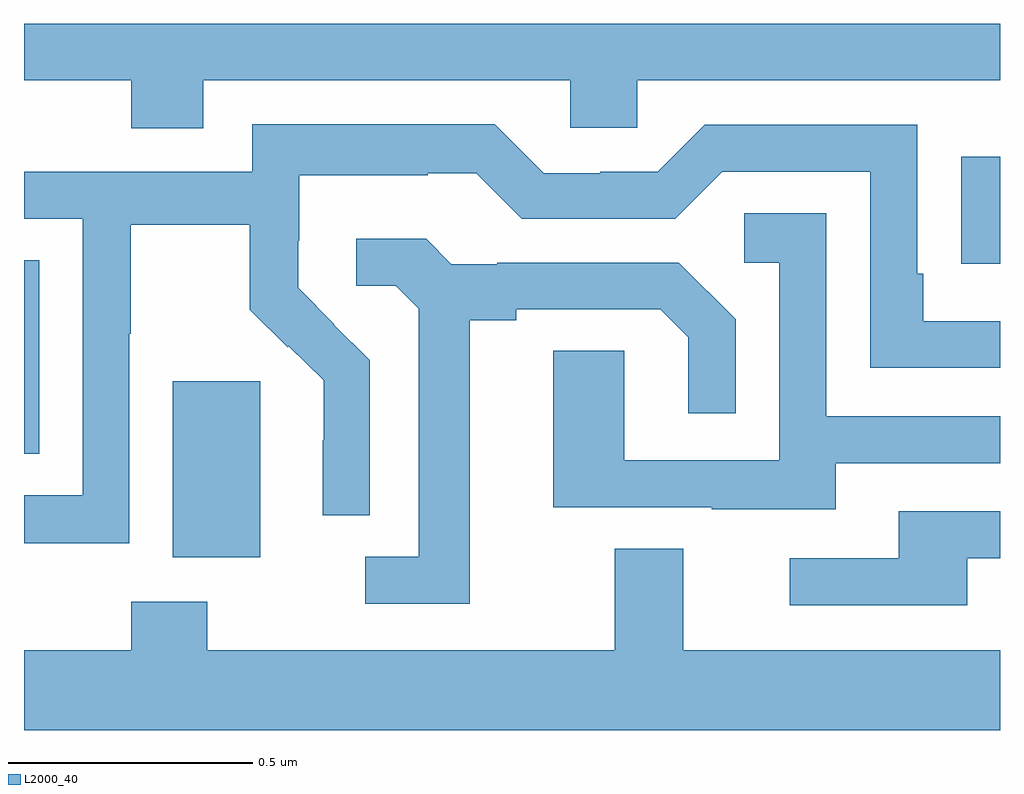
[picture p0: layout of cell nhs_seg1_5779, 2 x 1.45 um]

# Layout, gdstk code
import gdstk
lib = gdstk.Library(unit=1e-6, precision=1e-09)
def R(c, l, rs):  # rectangles x0, y0, x1, y1
    for r in rs: c.add(gdstk.rectangle(r[:2], r[2:], *l))
def P(c, l, *ps):  # polygons
    for p in ps: c.add(gdstk.Polygon(p, *l))
L2000_40 = (2000, 40)

nhs_seg1_5779 = lib.new_cell('nhs_seg1_5779')
R(nhs_seg1_5779, L2000_40, [(183.305,532.106,183.484,532.467), (183,532.318,183.031,532.715), (184.921,532.708,185,532.927)])
P(nhs_seg1_5779, L2000_40, [(183.367,533.084),(184.119,533.084),(184.119,532.986),(184.257,532.986),(184.257,533.084),(185,533.084),(185,533.199),(183,533.199),(183,533.084),(183.22,533.084),(183.22,532.985),(183.367,532.985)],
  [(183.216,532.564),(183.219,532.564),(183.219,532.788),(183.463,532.788),(183.463,532.613),(183.54,532.536),(183.543,532.539),(183.614,532.469),(183.614,532.346),(183.612,532.346),(183.612,532.192),(183.708,532.192),(183.708,532.51),(183.635,532.583),(183.636,532.584),(183.562,532.658),(183.562,532.755),(183.564,532.755),(183.564,532.889),(183.827,532.889),(183.827,532.893),(183.927,532.893),(184.02,532.8),(184.335,532.8),(184.431,532.896),(184.734,532.896),(184.734,532.494),(185,532.494),(185,532.59),(184.843,532.59),(184.843,532.687),(184.83,532.687),(184.83,532.992),(184.395,532.992),(184.299,532.896),(184.181,532.896),(184.181,532.893),(184.065,532.893),(183.965,532.993),(183.468,532.993),(183.468,532.896),(183,532.896),(183,532.8),(183.12,532.8),(183.12,532.233),(183,532.233),(183,532.135),(183.216,532.135)],
  [(184.663,532.299),(185,532.299),(185,532.395),(184.644,532.395),(184.644,532.811),(184.476,532.811),(184.476,532.71),(184.548,532.71),(184.548,532.305),(184.23,532.305),(184.23,532.529),(184.085,532.529),(184.085,532.209),(184.409,532.209),(184.409,532.205),(184.663,532.205)],
  [(183.913,532.592),(184.009,532.592),(184.009,532.614),(184.304,532.614),(184.361,532.557),(184.361,532.401),(184.458,532.401),(184.458,532.594),(184.342,532.71),(183.97,532.71),(183.97,532.707),(183.876,532.707),(183.824,532.759),(183.681,532.759),(183.681,532.662),(183.762,532.662),(183.809,532.615),(183.809,532.107),(183.699,532.107),(183.699,532.011),(183.913,532.011)],
  [(184.933,532.104),(185,532.104),(185,532.2),(184.793,532.2),(184.793,532.104),(184.569,532.104),(184.569,532.008),(184.933,532.008)],
  [(185,531.916),(184.351,531.916),(184.351,532.124),(184.211,532.124),(184.211,531.916),(183.375,531.916),(183.375,532.015),(183.22,532.015),(183.22,531.916),(183,531.916),(183,531.752),(185,531.752)])

lib.write_gds('nhs_seg1_5779.gds')
